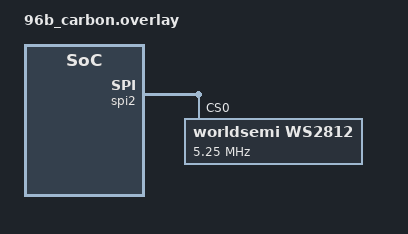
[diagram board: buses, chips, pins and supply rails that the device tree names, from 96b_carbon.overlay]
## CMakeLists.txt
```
# SPDX-License-Identifier: Apache-2.0

cmake_minimum_required(VERSION 3.20.0)

find_package(Zephyr REQUIRED HINTS $ENV{ZEPHYR_BASE})
project(led_ws2812)

FILE(GLOB app_sources src/*.c)
target_sources(app PRIVATE ${app_sources})
```

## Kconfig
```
# Copyright (c) 2019 Nordic Semiconductor ASA
# SPDX-License-Identifier: Apache-2.0

# Use the SPI driver by default, unless the GPIO driver is
# specifically configured in.
config SPI
	default y

menu "WS2812 Sample Configuration"

config SAMPLE_LED_UPDATE_DELAY
	int "Delay between LED updates in ms"
	default 50
	help
	  Delay between LED updates in ms.

endmenu

source "Kconfig.zephyr"
```

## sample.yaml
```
sample:
  description: Demonstration of the WS2812 LED driver
  name: WS2812 sample
tests:
  sample.drivers.led.ws2812:
    tags: LED
    filter: dt_compat_enabled("worldsemi,ws2812-spi")
    harness_config:
      fixture: fixture_led_ws2812
    integration_platforms:
      - mimxrt1050_evk
```

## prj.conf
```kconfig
CONFIG_LOG=y
CONFIG_LED_STRIP=y
CONFIG_LED_STRIP_LOG_LEVEL_DBG=y
CONFIG_WS2812_STRIP=y
```

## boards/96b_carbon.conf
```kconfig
CONFIG_POLL=y
CONFIG_SPI=y

CONFIG_SPI_STM32=y
CONFIG_SPI_STM32_INTERRUPT=y
CONFIG_SPI_2=y

CONFIG_WS2812_STRIP=y
```

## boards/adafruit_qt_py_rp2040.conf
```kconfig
CONFIG_WS2812_STRIP_RPI_PICO_PIO=y
CONFIG_GPIO=y
CONFIG_GPIO_HOGS=y
```

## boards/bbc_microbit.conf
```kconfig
CONFIG_GPIO=y
CONFIG_WS2812B_SW=y
```

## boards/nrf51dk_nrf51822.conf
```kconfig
CONFIG_WS2812_STRIP_GPIO=y
```

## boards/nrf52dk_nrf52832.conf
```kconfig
CONFIG_SPI=y

# This driver only uses spi_write() with the SPIM instance it allocates,
# so PAN 58 doesn't matter, because the RX length is always 0.
CONFIG_SOC_NRF52832_ALLOW_SPIM_DESPITE_PAN_58=y
```

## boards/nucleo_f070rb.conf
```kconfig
CONFIG_SPI=y
CONFIG_SPI_STM32_DMA=y
```

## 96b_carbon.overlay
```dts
/*
 * Copyright (c) 2018 Nordic Semiconductor ASA
 *
 * SPDX-License-Identifier: Apache-2.0
 */

&spi2 {

	ws2812@0 {
		compatible = "worldsemi,ws2812";
		reg = <0>;
		spi-max-frequency = <5250000>;
		label = "WS2812";
	};
};
```

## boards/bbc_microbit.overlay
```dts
/*
 * Copyright (c) 2019, Nordic Semiconductor ASA
 *
 * SPDX-License-Identifier: Apache-2.0
 */

#include <zephyr/dt-bindings/gpio/gpio.h>
#include <zephyr/dt-bindings/led/led.h>

/ {
	led_strip: ws2812 {
		compatible = "worldsemi,ws2812-gpio";

		chain-length = <16>; /* arbitrary; change at will */
		color-mapping = <LED_COLOR_ID_GREEN
				 LED_COLOR_ID_RED
				 LED_COLOR_ID_BLUE>;
		/* P0: */
		in-gpios = <&gpio0 3 0>;
	};

	aliases {
		led-strip = &led_strip;
	};
};
```

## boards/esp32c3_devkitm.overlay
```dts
/*
 * Copyright (c) 2022 Espressif Systems (Shanghai) Co., Ltd.
 *
 * SPDX-License-Identifier: Apache-2.0
 */

#include <zephyr/dt-bindings/led/led.h>

&spi2 {
	/* Workaround to support WS2812 driver */
	line-idle-low;

        led_strip: ws2812@0 {
                compatible = "worldsemi,ws2812-spi";

                /* SPI */
                reg = <0>; /* ignored, but necessary for SPI bindings */
                spi-max-frequency = <6400000>;

                /* WS2812 */
                chain-length = <1>; /* arbitrary; change at will */
                spi-cpha;
                spi-one-frame = <0xf0>; /* 11110000: 625 ns high and 625 ns low */
                spi-zero-frame = <0xc0>; /* 11000000: 312.5 ns high and 937.5 ns low */
                color-mapping = <LED_COLOR_ID_GREEN
                                 LED_COLOR_ID_RED
                                 LED_COLOR_ID_BLUE>;
        };
};

&pinctrl {
	spim2_default: spim2_default {
		group2 {
			pinmux = <SPIM2_MOSI_GPIO8>;
		};
	};
};

/ {
        aliases {
                led-strip = &led_strip;
        };
};
```

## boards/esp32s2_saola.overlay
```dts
/*
 * Copyright (c) 2022 Espressif Systems (Shanghai) Co., Ltd.
 *
 * SPDX-License-Identifier: Apache-2.0
 */

#include <zephyr/dt-bindings/led/led.h>

&spi3 {
	/* Workaround to support WS2812 driver */
	line-idle-low;

        led_strip: ws2812@0 {
                compatible = "worldsemi,ws2812-spi";

                /* SPI */
                reg = <0>; /* ignored, but necessary for SPI bindings */
                spi-max-frequency = <6400000>;

                /* WS2812 */
                chain-length = <1>; /* arbitrary; change at will */
                spi-cpha;
                spi-one-frame = <0xf0>; /* 11110000: 625 ns high and 625 ns low */
                spi-zero-frame = <0xc0>; /* 11000000: 312.5 ns high and 937.5 ns low */
                color-mapping = <LED_COLOR_ID_GREEN
                                 LED_COLOR_ID_RED
                                 LED_COLOR_ID_BLUE>;
        };
};

&pinctrl {
	spim3_default: spim3_default {
		group2 {
			pinmux = <SPIM3_MOSI_GPIO18>;
		};
	};
};

/ {
        aliases {
                led-strip = &led_strip;
        };
};
```

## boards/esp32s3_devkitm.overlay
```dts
/*
 * Copyright (c) 2022 Espressif Systems (Shanghai) Co., Ltd.
 *
 * SPDX-License-Identifier: Apache-2.0
 */

#include <zephyr/dt-bindings/led/led.h>

&spi3 {
	/* Workaround to support WS2812 driver */
	line-idle-low;

        led_strip: ws2812@0 {
                compatible = "worldsemi,ws2812-spi";

                /* SPI */
                reg = <0>; /* ignored, but necessary for SPI bindings */
                spi-max-frequency = <DT_FREQ_K(6400)>;

                /* WS2812 */
                chain-length = <1>; /* arbitrary; change at will */
                spi-cpha;
                spi-one-frame = <0xf0>; /* 11110000: 625 ns high and 625 ns low */
                spi-zero-frame = <0xc0>; /* 11000000: 312.5 ns high and 937.5 ns low */
                color-mapping = <LED_COLOR_ID_GREEN
                                 LED_COLOR_ID_RED
                                 LED_COLOR_ID_BLUE>;
        };
};

&pinctrl {
	spim3_default: spim3_default {
		group2 {
			pinmux = <SPIM3_MOSI_GPIO48>;
		};
	};
};

/ {
        aliases {
                led-strip = &led_strip;
        };
};
```

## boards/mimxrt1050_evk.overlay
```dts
/*
 * Copyright (c) 2021, STMicroelectronics
 *
 * SPDX-License-Identifier: Apache-2.0
 */

#include <zephyr/dt-bindings/led/led.h>

&lpspi3 {
	led_strip: ws2812@0 {
		compatible = "worldsemi,ws2812-spi";

		/* SPI */
		reg = <0>; /* ignored, but necessary for SPI bindings */
		spi-max-frequency = <DT_FREQ_K(6400)>;

		/* WS2812 */
		chain-length = <2>; /* arbitrary; change at will */
		spi-cpha;
		spi-one-frame = <0xf0>; /* 11110000: 625 ns high and 625 ns low */
		spi-zero-frame = <0xc0>; /* 11000000: 312.5 ns high and 937.5 ns low */
		color-mapping = <LED_COLOR_ID_GREEN
				 LED_COLOR_ID_RED
				 LED_COLOR_ID_BLUE>;
	};
};

/ {
	aliases {
		led-strip = &led_strip;
	};
};
```

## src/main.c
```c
/*
 * Copyright (c) 2017 Linaro Limited
 * Copyright (c) 2018 Intel Corporation
 *
 * SPDX-License-Identifier: Apache-2.0
 */

#include <errno.h>
#include <string.h>

#define LOG_LEVEL 4
#include <zephyr/logging/log.h>
LOG_MODULE_REGISTER(main);

#include <zephyr/kernel.h>
#include <zephyr/drivers/led_strip.h>
#include <zephyr/device.h>
#include <zephyr/drivers/spi.h>
#include <zephyr/sys/util.h>

#define STRIP_NODE		DT_ALIAS(led_strip)
#define STRIP_NUM_PIXELS	DT_PROP(DT_ALIAS(led_strip), chain_length)

#define DELAY_TIME K_MSEC(CONFIG_SAMPLE_LED_UPDATE_DELAY)

#define RGB(_r, _g, _b) { .r = (_r), .g = (_g), .b = (_b) }

static const struct led_rgb colors[] = {
	RGB(0x0f, 0x00, 0x00), /* red */
	RGB(0x00, 0x0f, 0x00), /* green */
	RGB(0x00, 0x00, 0x0f), /* blue */
};

struct led_rgb pixels[STRIP_NUM_PIXELS];

static const struct device *const strip = DEVICE_DT_GET(STRIP_NODE);

int main(void)
{
	size_t cursor = 0, color = 0;
	int rc;

	if (device_is_ready(strip)) {
		LOG_INF("Found LED strip device %s", strip->name);
	} else {
		LOG_ERR("LED strip device %s is not ready", strip->name);
		return 0;
	}

	LOG_INF("Displaying pattern on strip");
	while (1) {
		memset(&pixels, 0x00, sizeof(pixels));
		memcpy(&pixels[cursor], &colors[color], sizeof(struct led_rgb));
		rc = led_strip_update_rgb(strip, pixels, STRIP_NUM_PIXELS);

		if (rc) {
			LOG_ERR("couldn't update strip: %d", rc);
		}

		cursor++;
		if (cursor >= STRIP_NUM_PIXELS) {
			cursor = 0;
			color++;
			if (color == ARRAY_SIZE(colors)) {
				color = 0;
			}
		}

		k_sleep(DELAY_TIME);
	}
	return 0;
}
```
